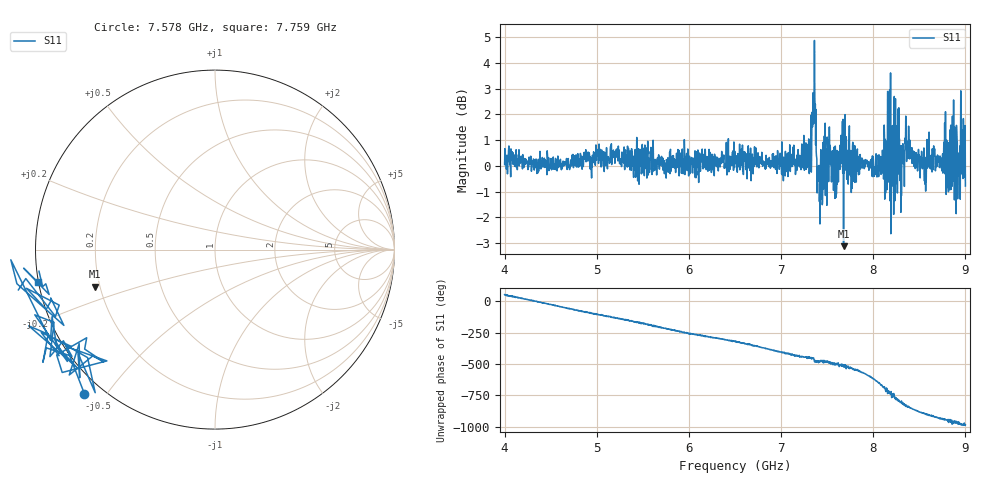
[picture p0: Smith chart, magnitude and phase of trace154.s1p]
! Created with skrf 1.8.0 (http://scikit-rf.org).
# Hz S RI R 50.0
!freq ReS11 ImS11
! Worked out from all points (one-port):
!   1601 points, 4 GHz to 9 GHz, reference 50 ohm
!   lowest |S11| = -3.1 dB at 7.678 GHz (marker M1), VSWR 5.62, Z = 9.09 - j7.33 ohm
!   |S11| at or under -10 dB: nowhere
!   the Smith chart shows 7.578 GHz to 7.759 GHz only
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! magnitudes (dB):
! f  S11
! 4 GHz  0.0
! 4.625 GHz  -0.1
! 5.25 GHz  0.1
! 5.875 GHz  0.3
! 6.5 GHz  0.2
! 7.125 GHz  0.4
! 7.297 GHz  0.1
! 7.359 GHz  3.1
! 7.388 GHz  0.3
! 7.4 GHz  -0.1
! 7.428 GHz  -0.1
! 7.509 GHz  -0.2
! 7.591 GHz  0.5
! 7.65 GHz  1.2
! 7.678 GHz  -3.1
! 7.75 GHz  -0.3
! 8.034 GHz  -0.3
! 8.128 GHz  0.0
! 8.162 GHz  0.4
! 8.209 GHz  1.6
! 8.262 GHz  -1.1
! 8.312 GHz  0.5
! 8.375 GHz  0.7
! 8.556 GHz  -0.6
! 8.884 GHz  1.5
! 8.919 GHz  -0.3
! 8.972 GHz  0.4
! 9 GHz  -0.8
